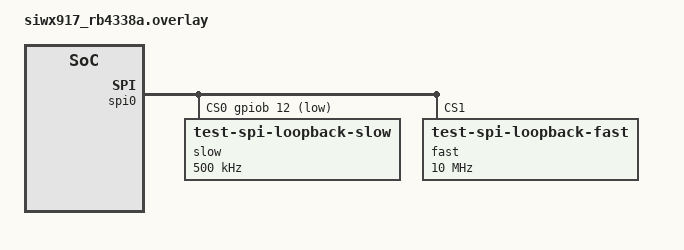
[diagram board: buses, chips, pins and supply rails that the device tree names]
/*
 * Copyright (c) 2025 Silicon Laboratories Inc.
 *
 * SPDX-License-Identifier: Apache-2.0
 */

&pinctrl0 {
	spi0_default: spi0_default {
		out {
			pinmux = <GSPI_CLK_HP25>, <GSPI_MOSI_HP27>;
		};
		in {
			pinmux = <GSPI_MISO_HP26>;
		};
	};
};

&spi0 {
	status = "okay";
	cs-gpios = <&gpiob 12 GPIO_ACTIVE_LOW>;
	pinctrl-0 = <&spi0_default>;
	pinctrl-names = "default";

	dmas = <&dma0 11>, <&dma0 10>;
	dma-names = "tx", "rx";

	slow@0 {
		compatible = "test-spi-loopback-slow";
		reg = <0>;
		spi-max-frequency = <500000>;
	};
	fast@1 {
		compatible = "test-spi-loopback-fast";
		reg = <1>;
		spi-max-frequency = <10000000>;
	};
};

&dma0 {
	status = "okay";
};
